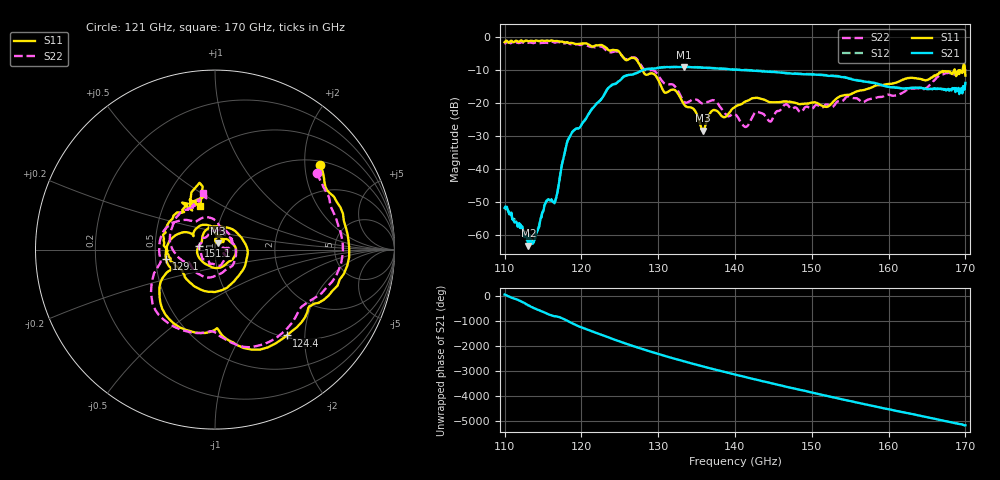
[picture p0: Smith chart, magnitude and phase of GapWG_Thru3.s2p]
!Keysight Technologies,N5245B,MY49151002,A.19.00.09
!Date: Tuesday, March 11, 2025 14:56:24
!Correction: S11(C  2-Port  )
!S21(C  2-Port  )
!S12(C  2-Port  )
!S22(C  2-Port  )
!S2P File: Measurements: S11, S21, S12, S22:
# Hz S  dB  R 50
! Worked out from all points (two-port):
!   601 points, 110 GHz to 170 GHz, reference 50 ohm
!   highest |S21| = -9.16 dB at 133.3 GHz (marker M1); lowest = -63.3 dB at 113.1 GHz (marker M2)
!   |S21| within 3 dB of the highest: 125.5 GHz to 153.7 GHz (28.21 GHz wide, 20.2 % of centre)
!   lowest |S11| = -28.5 dB at 135.8 GHz (marker M3), VSWR 1.08, Z = 51.4 + j3.56 ohm
!   |S11| at or under -10 dB: 127.9 GHz to 168.6 GHz (40.68 GHz wide, 27.4 % of centre); 168.6 GHz to 169.7 GHz (1.05 GHz wide, 0.621 % of centre); 169.9375 GHz to end of sweep
!   |S22| runs from -27.4 to -1.4 dB; largest |S21 - S12| = 0.098
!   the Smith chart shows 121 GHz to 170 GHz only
!   S11 on the Smith chart (normalised r, x): 121 GHz: 1.10, +2.40; 124.4 GHz: 1.04, -1.63; 129.1 GHz: 0.57, -0.07; 151.1 GHz: 0.83, +0.03; 170 GHz: 0.76, +0.39
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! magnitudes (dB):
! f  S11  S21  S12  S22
! 110 GHz  -1.7  -51.9  -52.3  -1.9
! 113.1 GHz  -1.4  -63.3  -62.4  -1.9
! 113.9 GHz  -1.4  -61.6  -60.8  -1.9
! 115.5 GHz  -1.2  -49.7  -49.6  -1.9
! 116.6 GHz  -1.4  -49.9  -49.7  -1.8
! 118.2 GHz  -1.8  -31.6  -31.5  -1.8
! 120 GHz  -2.1  -26.7  -26.7  -2.4
! 121 GHz  -2.5  -23.3  -23.2  -3.0
! 124.4 GHz  -4.1  -14.4  -14.2  -4.5
! 129.1 GHz  -11.1  -9.7  -9.7  -10.1
! 130 GHz  -13.0  -9.5  -9.4  -11.7
! 133.3 GHz  -20.3  -9.2  -9.1  -19.5
! 135.8 GHz  -28.5  -9.4  -9.3  -20.1
! 137.1 GHz  -22.3  -9.6  -9.5  -19.2
! 140 GHz  -21.3  -10.0  -9.9  -23.6
! 141.4 GHz  -19.6  -10.2  -10.1  -27.4
! 142.8 GHz  -18.5  -10.4  -10.2  -22.8
! 144.6 GHz  -19.9  -10.7  -10.5  -25.7
! 150 GHz  -20.0  -11.5  -11.4  -21.9
! 151.1 GHz  -20.6  -11.6  -11.5  -21.4
! 160 GHz  -14.3  -15.3  -15.2  -17.6
! 170 GHz  -11.8  -14.0  -16.5  -9.8
